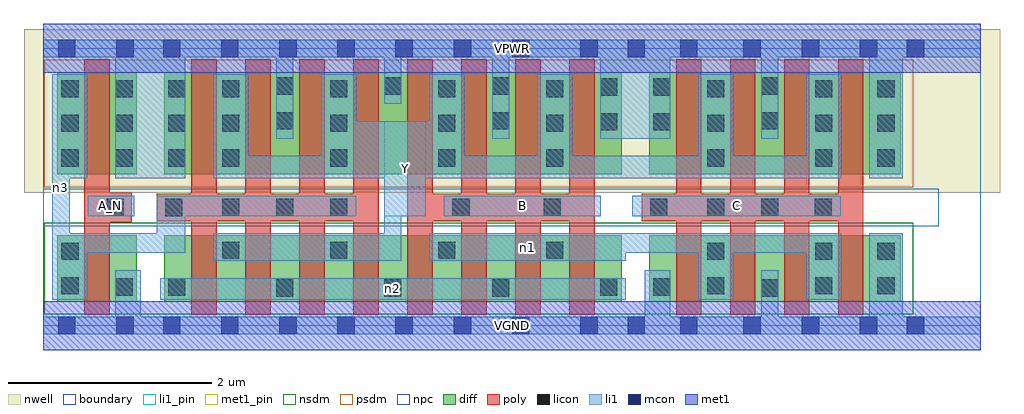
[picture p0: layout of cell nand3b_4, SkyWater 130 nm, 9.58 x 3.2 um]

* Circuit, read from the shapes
.subckt nand3b_4 A_N B C VGND VPWR Y n1 n2 n3
XM1 VGND A_N n3 VSUBS sky130_fd_pr__nfet_01v8 w=0.65 l=0.25
XM2 Y n3 n2 VSUBS sky130_fd_pr__nfet_01v8 w=0.65 l=0.25 m=4
XM3 n1 B n2 VSUBS sky130_fd_pr__nfet_01v8 w=0.65 l=0.25 m=4
XM4 n1 C VGND VSUBS sky130_fd_pr__nfet_01v8 w=0.65 l=0.25 m=4
XM5 VPWR A_N n3 n4 sky130_fd_pr__pfet_01v8 w=1 l=0.25
XM6 Y n3 VPWR n4 sky130_fd_pr__pfet_01v8 w=1 l=0.25 m=4
XM7 Y B VPWR n4 sky130_fd_pr__pfet_01v8 w=1 l=0.25 m=4
XM8 Y C VPWR n4 sky130_fd_pr__pfet_01v8 w=1 l=0.25 m=4
.ends

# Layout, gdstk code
import gdstk
lib = gdstk.Library(unit=1e-6, precision=1e-09)
def R(c, l, rs):  # rectangles x0, y0, x1, y1
    for r in rs: c.add(gdstk.rectangle(r[:2], r[2:], *l))
def A(c, l, x, y, w, h, nx, ny, dx, dy):  # array of equal rectangles
    R(c, l, [(x+i*dx, y+j*dy, x+i*dx+w, y+j*dy+h) for i in range(nx) for j in range(ny)])
nwell = (64, 20)
diff = (65, 20)
poly = (66, 20)
licon = (66, 44)
li1_pin = (67, 16)
li1 = (67, 20)
mcon = (67, 44)
met1_pin = (68, 16)
met1 = (68, 20)
nsdm = (93, 44)
psdm = (94, 20)
npc = (95, 20)
boundary = (235, 4)

nand3b_4 = lib.new_cell('nand3b_4')
R(nand3b_4, nwell, [(-0.19,1.305,9.39,2.91), (0,1.305,9.2,2.91)])
R(nand3b_4, diff, [(0.135,0.235,0.915,0.885), (1.185,0.235,5.675,0.885), (5.945,0.235,8.415,0.885), (0.135,1.485,0.915,2.485), (1.185,1.485,5.675,2.485), (5.945,1.485,8.415,2.485)])
A(nand3b_4, poly, 1.45, 0.105, 0.25, 2.51, 8, 1, 0.53, 0)
A(nand3b_4, poly, 6.21, 0.105, 0.25, 2.51, 4, 1, 0.53, 0)
R(nand3b_4, poly, [(0.4,0.105,0.65,2.615), (0.4,1.015,0.87,1.305), (1.115,1.025,3.29,1.295), (3.57,1.025,5.41,1.295), (5.875,1.025,8.05,1.295)])
A(nand3b_4, licon, 2.285, 0.285, 0.17, 0.17, 3, 2, 1.06, 1.98)
A(nand3b_4, licon, 1.755, 0.655, 0.17, 0.17, 4, 2, 1.06, 0.905)
A(nand3b_4, licon, 1.755, 1.075, 0.17, 0.17, 3, 1, 0.53, 0)
A(nand3b_4, licon, 0.175, 1.56, 0.17, 0.17, 1, 3, 0, 0.34)
A(nand3b_4, licon, 0.705, 1.56, 0.17, 0.17, 1, 3, 0, 0.34)
A(nand3b_4, licon, 1.225, 1.56, 0.17, 0.17, 1, 3, 0, 0.34)
A(nand3b_4, licon, 6.515, 1.56, 0.17, 0.17, 1, 3, 0, 0.34)
A(nand3b_4, licon, 7.575, 1.56, 0.17, 0.17, 1, 3, 0, 0.34)
A(nand3b_4, licon, 8.185, 1.56, 0.17, 0.17, 1, 3, 0, 0.34)
A(nand3b_4, licon, 1.755, 1.9, 0.17, 0.17, 4, 2, 1.06, 0.34)
R(nand3b_4, licon, [(7.045,0.285,7.215,0.455), (0.705,0.295,0.875,0.465), (1.225,0.295,1.395,0.465), (5.465,0.295,5.635,0.465), (5.985,0.295,6.155,0.465), (0.175,0.305,0.345,0.475), (6.515,0.305,6.685,0.475), (7.575,0.305,7.745,0.475), (8.185,0.305,8.355,0.475), (0.175,0.645,0.345,0.815), (6.515,0.645,6.685,0.815), (7.575,0.645,7.745,0.815), (8.185,0.645,8.355,0.815), (0.62,1.075,0.79,1.245), (1.195,1.075,1.365,1.245), (4.015,1.075,4.185,1.245), (4.91,1.075,5.08,1.245), (5.955,1.075,6.125,1.245), (6.515,1.075,6.685,1.245), (7.045,1.075,7.215,1.245), (7.57,1.075,7.74,1.245), (5.465,1.915,5.635,2.085), (5.985,1.915,6.155,2.085), (2.285,1.925,2.455,2.095), (4.405,1.925,4.575,2.095), (7.045,1.925,7.215,2.095), (5.465,2.255,5.635,2.425), (5.985,2.255,6.155,2.425), (7.045,2.265,7.215,2.435)])
R(nand3b_4, li1_pin, [(0.435,1.075,0.89,1.275), (3.345,1.075,3.755,2.005), (3.93,1.075,5.47,1.275), (5.78,1.075,7.825,1.275)])
A(nand3b_4, li1, 1.67, 1.445, 0.34, 1.02, 4, 1, 1.06, 0)
R(nand3b_4, li1, [(0,-0.085,9.2,0.085), (0.705,-0.085,0.955,0.545), (5.905,-0.085,6.155,0.545), (7.045,-0.085,7.215,0.545), (8.105,-0.085,8.435,0.905), (0.085,0.255,0.26,2.465), (0.085,0.255,0.43,0.905), (1.145,0.255,5.715,0.465), (6.43,0.255,6.77,0.905), (7.49,0.255,7.83,0.905), (1.67,0.635,3.515,0.905), (3.345,0.635,3.515,2.005), (3.79,0.635,5.715,0.905), (0.085,0.715,1.395,0.905), (1.115,0.715,1.395,1.275), (3.79,0.715,7.83,0.905), (0.435,1.075,0.89,1.275), (1.115,1.075,3.07,1.275), (3.345,1.075,3.755,2.005), (3.93,1.075,5.47,1.275), (5.78,1.075,7.825,1.275), (0.085,1.445,0.43,2.465), (0.705,1.445,1.395,2.805), (1.67,1.445,7.83,1.665), (2.73,1.445,4.13,2.005), (6.43,1.445,6.77,2.465), (7.49,1.445,7.83,2.465), (8.105,1.445,8.435,2.805), (2.285,1.835,2.455,2.805), (4.405,1.835,4.575,2.805), (5.465,1.835,6.155,2.805), (7.045,1.835,7.215,2.805), (3.345,2.175,3.515,2.805), (0,2.635,9.2,2.805)])
A(nand3b_4, mcon, 1.175, -0.085, 0.17, 0.17, 5, 2, 0.57, 2.72)
R(nand3b_4, mcon, [(0.145,-0.085,0.315,0.085), (0.715,-0.085,0.885,0.085), (4.03,-0.085,4.2,0.085), (4.6,-0.085,4.77,0.085), (5.27,-0.085,5.44,0.085), (5.735,-0.085,5.905,0.085), (6.25,-0.085,6.42,0.085), (6.87,-0.085,7.04,0.085), (7.445,-0.085,7.615,0.085), (8.015,-0.085,8.185,0.085), (8.475,-0.085,8.645,0.085), (0.145,2.635,0.315,2.805), (0.715,2.635,0.885,2.805), (4.03,2.635,4.2,2.805), (4.6,2.635,4.77,2.805), (5.27,2.635,5.44,2.805), (5.735,2.635,5.905,2.805), (6.25,2.635,6.42,2.805), (6.87,2.635,7.04,2.805), (7.445,2.635,7.615,2.805), (8.015,2.635,8.185,2.805), (8.475,2.635,8.645,2.805)])
R(nand3b_4, met1_pin, [(0,-0.24,9.2,0.24), (0,2.48,9.2,2.96)])
R(nand3b_4, met1, [(0,-0.24,9.2,0.24), (0,2.48,9.2,2.96)])
R(nand3b_4, nsdm, [(0.01,0.11,8.54,1.01)])
R(nand3b_4, psdm, [(0.01,1.36,8.54,2.61)])
R(nand3b_4, npc, [(0,0.975,8.79,1.345)])
R(nand3b_4, boundary, [(0,0,9.2,2.72)])
nand3b_4.add(gdstk.Label('A_N', (0.662,1.175), layer=67, texttype=5))
nand3b_4.add(gdstk.Label('B', (4.7,1.175), layer=67, texttype=5))
nand3b_4.add(gdstk.Label('C', (6.802,1.175), layer=67, texttype=5))
nand3b_4.add(gdstk.Label('Y', (3.55,1.54), layer=67, texttype=5))
nand3b_4.add(gdstk.Label('n2', (3.43,0.36), layer=67, texttype=5))
nand3b_4.add(gdstk.Label('n1', (4.752,0.77), layer=67, texttype=5))
nand3b_4.add(gdstk.Label('n3', (0.172,1.36), layer=67, texttype=5))
nand3b_4.add(gdstk.Label('VPWR', (4.6,2.72), layer=68, texttype=5))
nand3b_4.add(gdstk.Label('VGND', (4.6,0), layer=68, texttype=5))
nand3b_4.add(gdstk.Label('A_N', (0.662,1.175), layer=67, texttype=16))
nand3b_4.add(gdstk.Label('B', (4.7,1.175), layer=67, texttype=16))
nand3b_4.add(gdstk.Label('C', (6.802,1.175), layer=67, texttype=16))
nand3b_4.add(gdstk.Label('Y', (3.55,1.54), layer=67, texttype=16))
nand3b_4.add(gdstk.Label('VPWR', (4.6,2.72), layer=68, texttype=16))
nand3b_4.add(gdstk.Label('VGND', (4.6,0), layer=68, texttype=16))

lib.write_gds('nand3b_4.gds')
